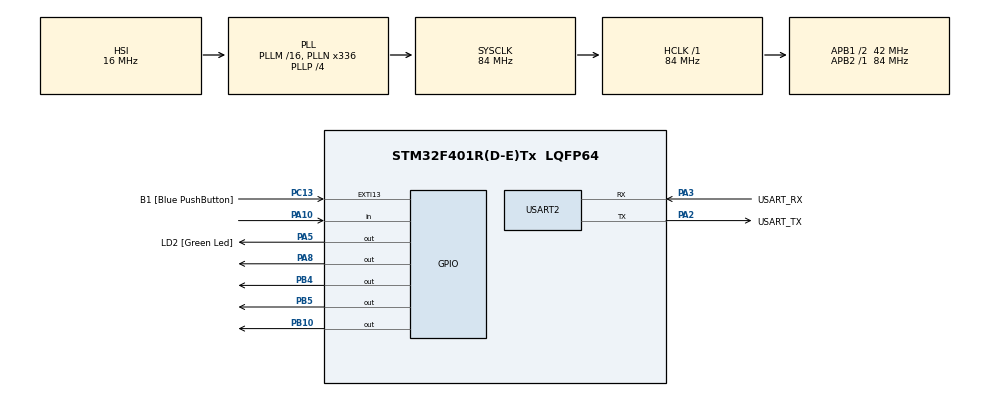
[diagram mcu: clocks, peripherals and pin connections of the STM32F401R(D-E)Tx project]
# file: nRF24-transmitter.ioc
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Mcu.Family=STM32F4
Mcu.Name=STM32F401R(D-E)Tx
Mcu.Package=LQFP64
NVIC.PriorityGroup=NVIC_PRIORITYGROUP_0
PA10.Signal=GPIO_Input
PA13.GPIO_Label=TMS
PA13.Mode=Serial_Wire
PA13.Signal=SYS_JTMS-SWDIO
PA14.GPIO_Label=TCK
PA14.Mode=Serial_Wire
PA14.Signal=SYS_JTCK-SWCLK
PA2.GPIO_Label=USART_TX
PA2.GPIO_Mode=GPIO_MODE_AF_PP
PA2.GPIO_PuPd=GPIO_NOPULL
PA2.GPIO_Speed=GPIO_SPEED_FREQ_LOW
PA2.Mode=Asynchronous
PA2.Signal=USART2_TX
PA3.GPIO_Label=USART_RX
PA3.GPIO_Mode=GPIO_MODE_AF_PP
PA3.GPIO_PuPd=GPIO_NOPULL
PA3.GPIO_Speed=GPIO_SPEED_FREQ_LOW
PA3.Mode=Asynchronous
PA3.Signal=USART2_RX
PA5.GPIO_Label=LD2 [Green Led]
PA5.GPIO_Mode=GPIO_MODE_OUTPUT_PP
PA5.GPIO_PuPd=GPIO_NOPULL
PA5.GPIO_Speed=GPIO_SPEED_FREQ_LOW
PA5.Signal=GPIO_Output
PA8.Signal=GPIO_Output
PB10.Signal=GPIO_Output
PB3.GPIO_Label=SWO
PB3.Signal=SYS_JTDO-SWO
PB4.Signal=GPIO_Output
PB5.Signal=GPIO_Output
PC13-ANTI_TAMP.GPIO_Label=B1 [Blue PushButton]
PC13-ANTI_TAMP.GPIO_ModeDefaultEXTI=GPIO_MODE_IT_FALLING
PC13-ANTI_TAMP.GPIO_PuPd=GPIO_NOPULL
PC13-ANTI_TAMP.Signal=GPXTI13
PC14-OSC32_IN.Mode=LSE-External-Oscillator
PC14-OSC32_IN.Signal=RCC_OSC32_IN
PC15-OSC32_OUT.Mode=LSE-External-Oscillator
PC15-OSC32_OUT.Signal=RCC_OSC32_OUT
PH0\ -\ OSC_IN.Mode=HSE-External-Clock-Source
PH0\ -\ OSC_IN.Signal=RCC_OSC_IN
PH1\ -\ OSC_OUT.Mode=HSE-External-Clock-Source
PH1\ -\ OSC_OUT.Signal=RCC_OSC_OUT
ProjectManager.HeapSize=0x200
ProjectManager.StackSize=0x400
ProjectManager.TargetToolchain=Makefile
RCC.48MHZClocksFreq_Value=48000000
RCC.AHBFreq_Value=84000000
RCC.APB1CLKDivider=RCC_HCLK_DIV2
RCC.APB1Freq_Value=42000000
RCC.APB1TimFreq_Value=84000000
RCC.APB2Freq_Value=84000000
RCC.APB2TimFreq_Value=84000000
RCC.CortexFreq_Value=84000000
RCC.HCLKFreq_Value=84000000
RCC.HSE_VALUE=8000000
RCC.HSI_VALUE=16000000
RCC.PLLN=336
RCC.PLLP=RCC_PLLP_DIV4
RCC.PLLQ=7
RCC.SYSCLKFreq_VALUE=84000000
RCC.SYSCLKSource=RCC_SYSCLKSOURCE_PLLCLK
RCC.VCOOutputFreq_Value=336000000
USART2.VirtualMode=VM_ASYNC
board=NUCLEO-F401RE

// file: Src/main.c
/* USER CODE BEGIN Header */
/**
  ******************************************************************************
  * @file           : main.c
  * @brief          : Main program body
  ******************************************************************************
  * @attention
  *
  * Copyright (c) 2022 STMicroelectronics.
  * All rights reserved.
  *
  * This software is licensed under terms that can be found in the LICENSE file
  * in the root directory of this software component.
  * If no LICENSE file comes with this software, it is provided AS-IS.
  *
  ******************************************************************************
  */
/* USER CODE END Header */
#include "main.h"

/* USER CODE BEGIN Includes */
#include "ble.h"
#include <stdio.h>
#include <nRF24.h>

/* USER CODE END Includes */

 UART_HandleTypeDef huart2;

void SystemClock_Config(void);
static void MX_GPIO_Init(void);
static void MX_USART2_UART_Init(void);

int main(void)
{

  /* MCU Configuration--------------------------------------------------------*/

  /* Reset of all peripherals, Initializes the Flash interface and the Systick. */
  HAL_Init();

  /* Configure the system clock */
  SystemClock_Config();

  /* Initialize all configured peripherals */
  MX_GPIO_Init();
  MX_USART2_UART_Init();
  /* USER CODE BEGIN 2 */
  // nRF24_tx_self_test();
  // nRF24_config_normal_tx_mode();
  nRF24_config_normal_rx_mode();
	// nRF24_config_enhanced_shockburst_tx_mode();
	// nRF24_print_all_registers();

	// ble - 1. ble_struct ble;
	// ble - 2. ble_begin(&ble,"nRF24_BLE");
  // ble - 3. nRF24_print_all_registers();

  /* USER CODE END 2 */

  /* Infinite loop */
  /* USER CODE BEGIN WHILE */
  while (1)
  {

    HAL_GPIO_WritePin(LD2_GPIO_Port, LD2_Pin, GPIO_PIN_SET);
    HAL_Delay (200);
    HAL_GPIO_WritePin(LD2_GPIO_Port, LD2_Pin, GPIO_PIN_RESET);
    HAL_Delay (200);

 		uint8_t payload[32] = {0xC0, 0xC0, 0xCA, 0xFE, 0xC0, 0xC0, 0xCA, 0xFE,
													0xC0, 0xC0, 0xCA, 0xFE, 0xC0, 0xC0, 0xCA, 0xFE,
													0xC0, 0xC0, 0xCA, 0xFE, 0xC0, 0xC0, 0xCA, 0xFE,
													0xC0, 0xC0, 0xCA, 0xFE, 0xC0, 0xC0, 0xCA, 0xFE
		};
    // nRF24_send_packet(32, payload);
		nRF24_receive_packet();

    HAL_Delay (1000);
		// send advertise packet
		// ble - 4. ble_advertise(&ble,0xff,0,0);
		// hop on frequency
		// ble - 5. ble_hopChannel(&ble);

    // nRF24_print_all_registers();
    // HAL_Delay (1000);
    // hopChannel();

    /* USER CODE END WHILE */

  }
}

void SystemClock_Config(void)
{
  RCC_OscInitTypeDef RCC_OscInitStruct = {0};
  RCC_ClkInitTypeDef RCC_ClkInitStruct = {0};

  /** Configure the main internal regulator output voltage
  */
  __HAL_RCC_PWR_CLK_ENABLE();
  __HAL_PWR_VOLTAGESCALING_CONFIG(PWR_REGULATOR_VOLTAGE_SCALE2);

  /** Initializes the RCC Oscillators according to the specified parameters
  * in the RCC_OscInitTypeDef structure.
  */
  RCC_OscInitStruct.OscillatorType = RCC_OSCILLATORTYPE_HSI;
  RCC_OscInitStruct.HSIState = RCC_HSI_ON;
  RCC_OscInitStruct.HSICalibrationValue = RCC_HSICALIBRATION_DEFAULT;
  RCC_OscInitStruct.PLL.PLLState = RCC_PLL_ON;
  RCC_OscInitStruct.PLL.PLLSource = RCC_PLLSOURCE_HSI;
  RCC_OscInitStruct.PLL.PLLM = 16;
  RCC_OscInitStruct.PLL.PLLN = 336;
  RCC_OscInitStruct.PLL.PLLP = RCC_PLLP_DIV4;
  RCC_OscInitStruct.PLL.PLLQ = 7;
  if (HAL_RCC_OscConfig(&RCC_OscInitStruct) != HAL_OK)
  {
    Error_Handler();
  }

  /** Initializes the CPU, AHB and APB buses clocks
  */
  RCC_ClkInitStruct.ClockType = RCC_CLOCKTYPE_HCLK|RCC_CLOCKTYPE_SYSCLK
                              |RCC_CLOCKTYPE_PCLK1|RCC_CLOCKTYPE_PCLK2;
  RCC_ClkInitStruct.SYSCLKSource = RCC_SYSCLKSOURCE_PLLCLK;
  RCC_ClkInitStruct.AHBCLKDivider = RCC_SYSCLK_DIV1;
  RCC_ClkInitStruct.APB1CLKDivider = RCC_HCLK_DIV2;
  RCC_ClkInitStruct.APB2CLKDivider = RCC_HCLK_DIV1;

  if (HAL_RCC_ClockConfig(&RCC_ClkInitStruct, FLASH_LATENCY_2) != HAL_OK)
  {
    Error_Handler();
  }
}

static void MX_USART2_UART_Init(void)
{

  huart2.Instance = USART2;
  huart2.Init.BaudRate = 115200;
  huart2.Init.WordLength = UART_WORDLENGTH_8B;
  huart2.Init.StopBits = UART_STOPBITS_1;
  huart2.Init.Parity = UART_PARITY_NONE;
  huart2.Init.Mode = UART_MODE_TX_RX;
  huart2.Init.HwFlowCtl = UART_HWCONTROL_NONE;
  huart2.Init.OverSampling = UART_OVERSAMPLING_16;
  if (HAL_UART_Init(&huart2) != HAL_OK)
  {
    Error_Handler();
  }

}

static void MX_GPIO_Init(void)
{
  GPIO_InitTypeDef GPIO_InitStruct = {0};

  /* GPIO Ports Clock Enable */
  __HAL_RCC_GPIOC_CLK_ENABLE();
  __HAL_RCC_GPIOH_CLK_ENABLE();
  __HAL_RCC_GPIOA_CLK_ENABLE();
  __HAL_RCC_GPIOB_CLK_ENABLE();

  /*Configure GPIO pin Output Level */
  HAL_GPIO_WritePin(GPIOA, LD2_Pin|GPIO_PIN_8, GPIO_PIN_RESET);

  /*Configure GPIO pin Output Level */
  HAL_GPIO_WritePin(GPIOB, GPIO_PIN_10|GPIO_PIN_4|GPIO_PIN_5, GPIO_PIN_RESET);

  /*Configure GPIO pin : B1_Pin */
  GPIO_InitStruct.Pin = B1_Pin;
  GPIO_InitStruct.Mode = GPIO_MODE_IT_FALLING;
  GPIO_InitStruct.Pull = GPIO_NOPULL;
  HAL_GPIO_Init(B1_GPIO_Port, &GPIO_InitStruct);

  /*Configure GPIO pins : LD2_Pin PA8 */
  GPIO_InitStruct.Pin = LD2_Pin|GPIO_PIN_8;
  GPIO_InitStruct.Mode = GPIO_MODE_OUTPUT_PP;
  GPIO_InitStruct.Pull = GPIO_NOPULL;
  GPIO_InitStruct.Speed = GPIO_SPEED_FREQ_LOW;
  HAL_GPIO_Init(GPIOA, &GPIO_InitStruct);

  /*Configure GPIO pins : PB10 PB4 PB5 */
  GPIO_InitStruct.Pin = GPIO_PIN_10|GPIO_PIN_4|GPIO_PIN_5;
  GPIO_InitStruct.Mode = GPIO_MODE_OUTPUT_PP;
  GPIO_InitStruct.Pull = GPIO_NOPULL;
  GPIO_InitStruct.Speed = GPIO_SPEED_FREQ_LOW;
  HAL_GPIO_Init(GPIOB, &GPIO_InitStruct);

  /*Configure GPIO pin : PA10 */
  GPIO_InitStruct.Pin = GPIO_PIN_10;
  GPIO_InitStruct.Mode = GPIO_MODE_INPUT;
  GPIO_InitStruct.Pull = GPIO_NOPULL;
  HAL_GPIO_Init(GPIOA, &GPIO_InitStruct);

}

void Error_Handler(void)
{
  __disable_irq();
  while (1)
  {
  }
}
